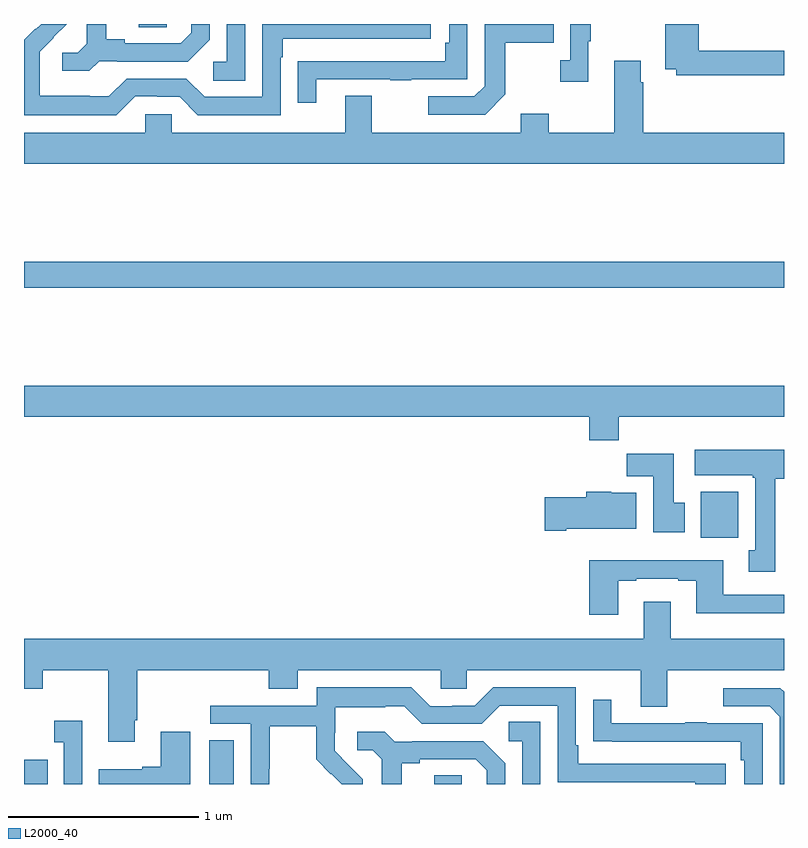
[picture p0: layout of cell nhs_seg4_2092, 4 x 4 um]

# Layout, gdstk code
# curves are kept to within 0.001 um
import gdstk
lib = gdstk.Library(unit=1e-6, precision=1e-09)
def R(c, l, rs):  # rectangles x0, y0, x1, y1
    for r in rs: c.add(gdstk.rectangle(r[:2], r[2:], *l))
def P(c, l, *ps):  # polygons
    for p in ps: c.add(gdstk.Polygon(p, *l))
L2000_40 = (2000, 40)

nhs_seg4_2092 = lib.new_cell('nhs_seg4_2092')
R(nhs_seg4_2092, L2000_40, [(219,782.9,219.125,783.027), (219.974,782.9,220.105,783.131), (221.159,782.9,221.304,782.945), (222.563,784.196,222.76,784.438), (219,785.512,223,785.648), (219.605,786.883,219.75,786.9)])
P(nhs_seg4_2092, L2000_40, [(221.971,786.809),(221.983,786.809),(221.983,786.9),(221.874,786.9),(221.874,786.71),(221.823,786.71),(221.823,786.597),(221.971,786.597)],
  [(220.164,786.9),(220.068,786.9),(220.068,786.702),(219.996,786.702),(219.996,786.601),(220.164,786.601)],
  [(223,786.758),(222.551,786.758),(222.551,786.9),(222.376,786.9),(222.376,786.662),(222.432,786.662),(222.432,786.63),(223,786.63)],
  [(219.396,786.705),(219.49,786.705),(219.49,786.702),(219.862,786.702),(219.978,786.818),(219.978,786.9),(219.881,786.9),(219.881,786.855),(219.824,786.798),(219.529,786.798),(219.529,786.821),(219.433,786.821),(219.433,786.9),(219.329,786.9),(219.329,786.797),(219.282,786.75),(219.201,786.75),(219.201,786.653),(219.344,786.653)],
  [(221.533,786.529),(221.533,786.802),(221.789,786.802),(221.789,786.9),(221.424,786.9),(221.424,786.573),(221.37,786.519),(221.127,786.519),(221.127,786.423),(221.427,786.423)],
  [(220.537,786.609),(220.927,786.609),(220.927,786.604),(221.039,786.604),(221.039,786.609),(221.334,786.609),(221.334,786.9),(221.238,786.9),(221.238,786.802),(221.218,786.802),(221.218,786.705),(220.543,786.705),(220.543,786.704),(220.441,786.704),(220.441,786.486),(220.537,786.486)],
  [(219.585,786.519),(219.701,786.519),(219.701,786.516),(219.819,786.516),(219.915,786.42),(220.35,786.42),(220.35,786.725),(220.363,786.725),(220.363,786.822),(221.14,786.822),(221.14,786.9),(220.254,786.9),(220.254,786.516),(219.951,786.516),(219.855,786.612),(219.54,786.612),(219.447,786.519),(219.347,786.519),(219.347,786.523),(219.084,786.523),(219.084,786.657),(219.082,786.657),(219.082,786.754),(219.226,786.9),(219.09,786.9),(219.063,786.873),(219.06,786.876),(219,786.816),(219,786.419),(219.485,786.419)],
  [(223,786.328),(222.26,786.328),(222.26,786.593),(222.247,786.593),(222.247,786.706),(222.107,786.706),(222.107,786.328),(221.763,786.328),(221.763,786.427),(221.615,786.427),(221.615,786.328),(220.831,786.328),(220.831,786.523),(220.691,786.523),(220.691,786.328),(219.777,786.328),(219.777,786.426),(219.639,786.426),(219.639,786.328),(219,786.328),(219,786.164),(223,786.164)],
  [(222.131,784.832),(223,784.832),(223,784.996),(219,784.996),(219,784.832),(221.975,784.832),(221.975,784.708),(222.131,784.708)],
  [(222.955,784.506),(223,784.506),(223,784.66),(222.531,784.66),(222.531,784.526),(222.835,784.526),(222.835,784.513),(222.848,784.513),(222.848,784.13),(222.815,784.13),(222.815,784.017),(222.955,784.017)],
  [(222.478,784.38),(222.421,784.38),(222.421,784.639),(222.172,784.639),(222.172,784.52),(222.311,784.52),(222.311,784.224),(222.478,784.224)],
  [(221.854,784.244),(222.223,784.244),(222.223,784.432),(222.09,784.432),(222.09,784.438),(221.96,784.438),(221.96,784.41),(221.742,784.41),(221.742,784.232),(221.854,784.232)],
  [(222.127,783.969),(222.223,783.969),(222.223,783.981),(222.443,783.981),(222.443,783.969),(222.539,783.969),(222.539,783.8),(223,783.8),(223,783.897),(222.679,783.897),(222.679,784.078),(221.975,784.078),(221.975,783.792),(222.127,783.792)],
  [(219.583,783.235),(219.596,783.235),(219.596,783.5),(220.289,783.5),(220.289,783.401),(220.441,783.401),(220.441,783.5),(221.193,783.5),(221.193,783.402),(221.331,783.402),(221.331,783.5),(222.245,783.5),(222.245,783.306),(222.385,783.306),(222.385,783.5),(223,783.5),(223,783.664),(222.403,783.664),(222.403,783.859),(222.263,783.859),(222.263,783.664),(219,783.664),(219,783.401),(219.099,783.401),(219.099,783.5),(219.443,783.5),(219.443,783.123),(219.583,783.123)],
  [(220.29,782.98),(220.293,782.98),(220.293,783.204),(220.537,783.204),(220.537,783.029),(220.614,782.952),(220.617,782.955),(220.673,782.9),(220.782,782.9),(220.782,782.926),(220.636,783.074),(220.636,783.171),(220.638,783.171),(220.638,783.305),(220.901,783.305),(220.901,783.309),(221.001,783.309),(221.094,783.216),(221.409,783.216),(221.505,783.312),(221.808,783.312),(221.808,782.91),(222.533,782.91),(222.533,782.9),(222.694,782.9),(222.694,783.006),(221.917,783.006),(221.917,783.103),(221.904,783.103),(221.904,783.408),(221.469,783.408),(221.373,783.312),(221.255,783.312),(221.255,783.309),(221.139,783.309),(221.039,783.409),(220.542,783.409),(220.542,783.312),(219.981,783.312),(219.981,783.216),(220.194,783.216),(220.194,782.9),(220.29,782.9)],
  [(223,783.386),(222.981,783.405),(222.681,783.405),(222.681,783.309),(222.924,783.309),(222.978,783.255),(222.978,782.9),(223,782.9)],
  [(222.888,783.219),(222.593,783.219),(222.593,783.224),(222.481,783.224),(222.481,783.219),(222.091,783.219),(222.091,783.343),(221.995,783.343),(221.995,783.124),(222.097,783.124),(222.097,783.123),(222.772,783.123),(222.772,783.026),(222.792,783.026),(222.792,782.9),(222.888,782.9)],
  [(219.306,783.232),(219.159,783.232),(219.159,783.119),(219.21,783.119),(219.21,782.9),(219.306,782.9)],
  [(221.718,783.227),(221.55,783.227),(221.55,783.126),(221.622,783.126),(221.622,782.9),(221.718,782.9)],
  [(220.987,783.008),(221.083,783.008),(221.083,783.03),(221.378,783.03),(221.435,782.973),(221.435,782.9),(221.532,782.9),(221.532,783.01),(221.416,783.126),(221.044,783.126),(221.044,783.123),(220.95,783.123),(220.898,783.175),(220.755,783.175),(220.755,783.078),(220.836,783.078),(220.883,783.031),(220.883,782.9),(220.987,782.9)],
  [(219.874,783.175),(219.719,783.175),(219.719,782.99),(219.623,782.99),(219.623,782.977),(219.393,782.977),(219.393,782.9),(219.874,782.9)])

lib.write_gds('nhs_seg4_2092.gds')
